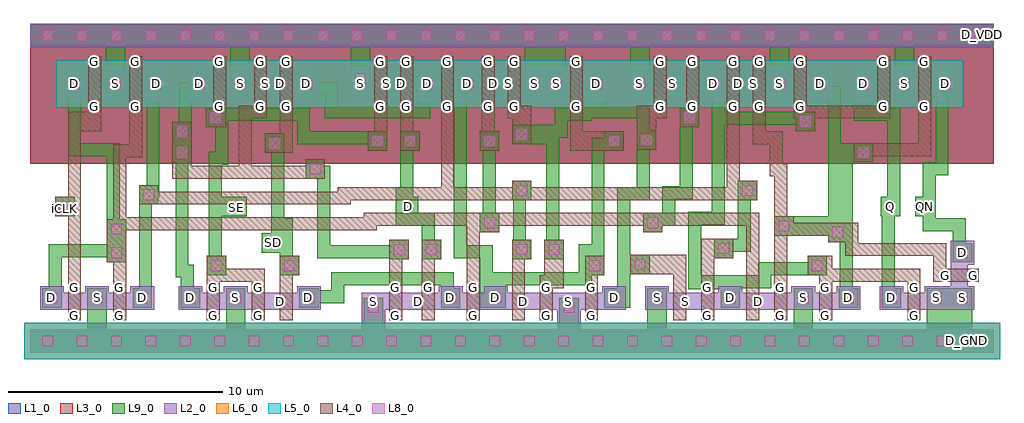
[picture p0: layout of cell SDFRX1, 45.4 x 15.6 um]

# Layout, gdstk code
import gdstk
lib = gdstk.Library(unit=1e-6, precision=1e-09)
def R(c, l, rs):  # rectangles x0, y0, x1, y1
    for r in rs: c.add(gdstk.rectangle(r[:2], r[2:], *l))
def A(c, l, x, y, w, h, nx, ny, dx, dy):  # array of equal rectangles
    R(c, l, [(x+i*dx, y+j*dy, x+i*dx+w, y+j*dy+h) for i in range(nx) for j in range(ny)])
def P(c, l, *ps):  # polygons
    for p in ps: c.add(gdstk.Polygon(p, *l))
L1_0 = (1, 0)
L2_0 = (2, 0)
L3_0 = (3, 0)
L4_0 = (4, 0)
L5_0 = (5, 0)
L6_0 = (6, 0)
L8_0 = (8, 0)
L9_0 = (9, 0)

sdfrx1 = lib.new_cell('SDFRX1')
A(sdfrx1, L1_0, 0, 8.8, 1.6, 6.5, 28, 1, 1.6, 0)
A(sdfrx1, L1_0, 14.5, 10.2, 6, 4.6, 3, 1, 1.9, 0)
R(sdfrx1, L1_0, [(0,10.2,6,14.8), (1.9,10.2,7.9,14.8), (5.8,10.2,11.8,14.8), (7.7,10.2,13.7,14.8), (8.9,10.2,14.9,14.8), (13.3,10.2,19.3,14.8), (19.5,10.2,25.5,14.8), (22.4,10.2,28.4,14.8), (26.3,10.2,32.3,14.8), (27.8,10.2,33.8,14.8), (29.7,10.2,35.7,14.8), (30.9,10.2,36.9,14.8), (32.8,10.2,38.8,14.8), (36.7,10.2,42.7,14.8), (38.6,10.2,44.6,14.8)])
A(sdfrx1, L2_0, 0, 0, 1.6, 1.1, 28, 2, 1.6, 14.2)
A(sdfrx1, L2_0, 18, 2, 1, 0.8, 3, 1, 2.1, 0)
A(sdfrx1, L2_0, 17.1, 11.7, 0.8, 1.6, 3, 1, 1.9, 0)
R(sdfrx1, L2_0, [(15.4,1.1,16.5,2.8), (24.5,1.1,25.6,2), (15.4,1.55,16.5,2.65), (24.5,1.55,25.6,2.65), (0.45,2,1.55,3.1), (1.55,2,2.55,2.8), (2.55,2,3.65,3.1), (2.55,2,3.65,3.1), (3.65,2,4.65,2.8), (4.65,2,5.75,3.1), (6.9,2,8,3.1), (8,2,9,2.8), (9,2,10.1,3.1), (9,2,10.1,3.1), (10.1,2,11.1,2.8), (10.3,2,11.4,2.8), (11.1,2,12.2,2.8), (11.4,2,12.4,2.8), (12.4,2,13.5,3.1), (15.4,2,16.5,2.8), (16.5,2,17.5,2.8), (16.9,2,18,2.8), (17.5,2,18.6,2.8), (19,2,20.1,3.1), (19,2,20.1,3.1), (21.1,2,22.2,3.1), (21.1,2,22.2,3.1), (22.4,2,23.5,2.8), (23.2,2,24.3,2.8), (23.5,2,24.5,2.8), (24.5,2,25.6,2.8), (24.5,2,25.6,2.8), (25.6,2,26.6,2.8), (26.6,2,27.7,3.1), (28.6,2,29.7,3.1), (29.7,2,30.7,2.8), (29.9,2,31,2.8), (30.7,2,31.8,2.8), (31,2,32,2.8), (32,2,33.1,3.1), (32,2,33.1,3.1), (33.1,2,34.1,2.8), (33.3,2,34.4,2.8), (34.1,2,35.2,2.8), (34.4,2,35.4,2.8), (35.4,2,36.5,3.1), (35.4,2,36.5,3.1), (36.5,2,37.5,2.8), (37.5,2,38.6,3.1), (39.5,2,40.6,3.1), (40.6,2,41.6,2.8), (41.6,2,42.7,3.1), (42.7,2,42.8,3.1), (42.8,2,43.9,3.1), (42.8,3.1,43.6,4.1), (42.8,4.1,43.9,5.2), (1.5,11.7,2.6,13.3), (2.6,11.7,3.4,13.3), (3.4,11.7,4.5,13.3), (3.4,11.7,4.5,13.3), (4.5,11.7,5.3,13.3), (5.3,11.7,6.4,13.3), (7.3,11.7,8.4,13.3), (8.4,11.7,9.2,13.3), (9.2,11.7,10.3,13.3), (9.2,11.7,10.3,13.3), (10.3,11.7,11.1,13.3), (10.4,11.7,11.5,13.3), (11.1,11.7,12.2,13.3), (11.5,11.7,12.3,13.3), (12.3,11.7,13.4,13.3), (14.8,11.7,15.9,13.3), (15.9,11.7,16.7,13.3), (16,11.7,17.1,13.3), (16.7,11.7,17.8,13.3), (17.9,11.7,19,13.3), (17.9,11.7,19,13.3), (19.8,11.7,20.9,13.3), (19.8,11.7,20.9,13.3), (21,11.7,22.1,13.3), (21.7,11.7,22.8,13.3), (22.1,11.7,22.9,13.3), (22.9,11.7,24,13.3), (23.9,11.7,25,13.3), (25,11.7,25.8,13.3), (25.8,11.7,26.9,13.3), (27.8,11.7,28.9,13.3), (28.9,11.7,29.7,13.3), (29.3,11.7,30.4,13.3), (29.7,11.7,30.8,13.3), (30.4,11.7,31.2,13.3), (31.2,11.7,32.3,13.3), (31.2,11.7,32.3,13.3), (32.3,11.7,33.1,13.3), (32.4,11.7,33.5,13.3), (33.1,11.7,34.2,13.3), (33.5,11.7,34.3,13.3), (34.3,11.7,35.4,13.3), (34.3,11.7,35.4,13.3), (35.4,11.7,36.2,13.3), (36.2,11.7,37.3,13.3), (38.2,11.7,39.3,13.3), (39.3,11.7,40.1,13.3), (40.1,11.7,41.2,13.3), (40.1,11.7,41.2,13.3), (41.2,11.7,42,13.3), (42,11.7,43.1,13.3), (27.8,12,28.9,13.1), (14.8,12.2,15.9,13.3)])
A(sdfrx1, L3_0, 0, 8.8, 1.6, 6.5, 28, 1, 1.6, 0)
A(sdfrx1, L3_0, 14.5, 10.2, 6, 4.6, 3, 1, 1.9, 0)
R(sdfrx1, L3_0, [(0,10.2,6,14.8), (1.9,10.2,7.9,14.8), (5.8,10.2,11.8,14.8), (7.7,10.2,13.7,14.8), (8.9,10.2,14.9,14.8), (13.3,10.2,19.3,14.8), (19.5,10.2,25.5,14.8), (22.4,10.2,28.4,14.8), (26.3,10.2,32.3,14.8), (27.8,10.2,33.8,14.8), (29.7,10.2,35.7,14.8), (30.9,10.2,36.9,14.8), (32.8,10.2,38.8,14.8), (36.7,10.2,42.7,14.8), (38.6,10.2,44.6,14.8)])
A(sdfrx1, L4_0, 18.2, 1.5, 0.6, 0.5, 3, 2, 2.1, 1.3)
A(sdfrx1, L4_0, 18.2, 1.5, 0.6, 1.8, 3, 1, 2.1, 0)
A(sdfrx1, L4_0, 17.2, 11.2, 0.6, 2.6, 3, 1, 1.9, 0)
A(sdfrx1, L4_0, 17.2, 11.2, 0.6, 0.5, 3, 2, 1.9, 2.1)
R(sdfrx1, L4_0, [(1.75,1.5,2.35,2), (1.75,1.5,2.35,3.3), (3.85,1.5,4.45,2), (3.85,1.5,4.45,3.3), (8.2,1.5,8.8,2), (8.2,1.5,8.8,3.3), (10.3,1.5,10.9,2), (10.3,1.5,10.9,3.3), (11.6,1.5,12.2,2), (11.6,1.5,12.2,3.3), (16.7,1.5,17.3,2), (16.7,1.5,17.3,3.3), (23.7,1.5,24.3,2), (23.7,1.5,24.3,3.3), (25.8,1.5,26.4,2), (25.8,1.5,26.4,3.3), (29.9,1.5,30.5,2), (29.9,1.5,30.5,3.3), (31.2,1.5,31.8,2), (31.2,1.5,31.8,3.3), (33.3,1.5,33.9,2), (33.3,1.5,33.9,3.3), (34.6,1.5,35.2,2), (34.6,1.5,35.2,3.3), (36.7,1.5,37.3,2), (36.7,1.5,37.3,3.3), (40.8,1.5,41.4,2), (40.8,1.5,41.4,3.3), (1.75,2.8,2.35,3.3), (3.85,2.8,4.45,3.3), (8.2,2.8,8.8,3.3), (10.3,2.8,10.9,3.3), (11.6,2.8,12.2,3.3), (16.7,2.8,17.3,3.3), (23.7,2.8,24.3,3.3), (25.8,2.8,26.4,3.3), (29.9,2.8,30.5,3.3), (31.2,2.8,31.8,3.3), (33.3,2.8,33.9,3.3), (34.6,2.8,35.2,3.3), (36.7,2.8,37.3,3.3), (40.8,2.8,41.4,3.3), (16.7,3.15,17.3,5.25), (3.85,3.3,4.45,4.2), (8.2,3.3,10.9,3.9), (11.6,3.3,12.2,3.6), (18.2,3.3,18.8,4.4), (22.4,3.3,23,4.4), (25.8,3.3,26.4,3.6), (33.3,3.3,33.9,5.9), (36.7,3.3,37.3,4.5), (37.3,3.3,41.4,3.9), (42,3.3,42.6,4.95), (42.3,3.3,44.1,3.9), (42.3,3.3,42.8,3.9), (43.6,3.3,44.1,3.9), (8.2,3.6,9.1,4.5), (11.6,3.6,12.5,4.5), (25.8,3.6,26.7,4.5), (36.15,3.6,37.05,4.5), (27.9,3.65,28.8,4.55), (3.55,4.2,4.45,5.1), (16.7,4.35,17.6,5.25), (18.2,4.35,19.1,5.25), (22.4,4.35,23.3,5.25), (23.9,4.35,24.8,5.25), (31.8,4.4,32.7,5.3), (38.25,4.5,42.6,5.1), (3.55,5.1,3.85,5.3), (37.1,5.15,38,6.05), (3.55,5.3,4.45,6.2), (34.6,5.45,35.5,6.35), (35.5,5.45,37.1,6.05), (20.9,5.6,21.8,6.5), (28.5,5.6,29.4,6.5), (21.8,5.9,30.1,6.5), (29.4,5.9,33.9,6.5), (1.15,6.35,2.05,7.25), (5.05,6.9,5.95,7.8), (5.25,6.9,12.5,7.5), (17.25,7.1,22.65,7.7), (22.4,7.1,23.3,8), (23.3,7.1,30.05,7.7), (30.05,7.1,32.9,7.7), (32.9,7.1,33.8,8), (19.1,7.7,19.7,11.2), (6.6,8.1,7.5,9.85), (6.8,8.1,12.55,8.7), (12.8,8.1,13.7,9), (6.6,8.85,7.5,9.75), (38.3,8.85,39.2,9.75), (10.9,9.3,11.8,10.2), (11.6,9.3,12.2,11.2), (15.7,9.4,16.6,10.3), (17.2,9.4,18.1,10.3), (20.9,9.4,21.8,10.3), (21,9.4,21.6,11.2), (26.7,9.4,27.6,10.3), (28.2,9.45,29.1,10.35), (22.4,9.7,23.3,10.6), (6.6,9.85,7.5,10.75), (16,10.3,16.6,11.2), (17.2,10.3,17.8,11.2), (35.6,10.3,36.5,11.2), (8.15,10.5,9.05,11.4), (9,10.5,9.1,11.2), (30.2,10.5,31.1,11.4), (22.4,10.6,23.3,11.5), (22.2,10.9,23.3,11.5), (35.5,10.9,36.5,11.5), (36.5,10.9,40,11.5), (2.7,11.2,3.3,13.8), (2.7,11.2,3.3,11.7), (4.6,11.2,5.2,13.8), (4.6,11.2,5.2,11.7), (8.5,11.2,9.1,13.8), (8.5,11.2,9.1,11.7), (10.4,11.2,11,13.8), (10.4,11.2,11,11.7), (11.6,11.2,12.2,13.8), (11.6,11.2,12.2,11.7), (16,11.2,16.6,13.8), (16,11.2,16.6,11.7), (22.2,11.2,22.8,13.8), (22.2,11.2,22.8,11.7), (25.1,11.2,25.7,13.8), (25.1,11.2,25.7,11.7), (29,11.2,29.6,13.8), (29,11.2,29.6,11.7), (30.5,11.2,31.1,13.8), (30.5,11.2,31.1,11.7), (32.4,11.2,33,13.8), (32.4,11.2,33,11.7), (33.6,11.2,34.2,13.8), (33.6,11.2,34.2,11.7), (35.5,11.2,36.1,13.8), (35.5,11.2,36.1,11.7), (39.4,11.2,40,13.8), (39.4,11.2,40,11.7), (41.3,11.2,41.9,13.8), (41.3,11.2,41.9,11.7), (2.7,13.3,3.3,13.8), (4.6,13.3,5.2,13.8), (8.5,13.3,9.1,13.8), (10.4,13.3,11,13.8), (11.6,13.3,12.2,13.8), (16,13.3,16.6,13.8), (22.2,13.3,22.8,13.8), (25.1,13.3,25.7,13.8), (29,13.3,29.6,13.8), (30.5,13.3,31.1,13.8), (32.4,13.3,33,13.8), (33.6,13.3,34.2,13.8), (35.5,13.3,36.1,13.8), (39.4,13.3,40,13.8), (41.3,13.3,41.9,13.8)])
P(sdfrx1, L4_0, [(32.4,7.15),(33.35,7.15),(33.35,7.75),(33,7.75),(33,11.2),(32.4,11.2)],
  [(37.9,4.5),(38.7,4.5),(38.7,5.1),(38.5,5.1),(38.5,6.05),(37.9,6.05)],
  [(28.8,3.65),(29.9,3.65),(29.9,3.3),(30.5,3.3),(30.5,4.55),(28.8,4.55)],
  [(25.1,9.4),(26.7,9.4),(26.7,10.3),(25.7,10.3),(25.7,11.2),(25.1,11.2)],
  [(23.7,3),(24.8,3),(24.8,4.35),(23.9,4.35),(23.9,3.6),(23.7,3.6)],
  [(39.2,9.15),(41.9,9.15),(41.9,11.2),(41.3,11.2),(41.3,9.75),(39.2,9.75)],
  [(3.85,5.1),(4.45,5.1),(4.45,9.1),(5.2,9.1),(5.2,11.2),(4.6,11.2),(4.6,9.7),(3.85,9.7)],
  [(28.2,10.35),(29.1,10.35),(29.1,10.9),(29.6,10.9),(29.6,11.5),(28.2,11.5)],
  [(31.2,3.25),(31.8,3.25),(31.8,4.4),(32.1,4.4),(32.1,5.3),(31.2,5.3)],
  [(33.6,9.7),(34.4,9.7),(34.4,8.2),(34.6,8.2),(34.6,3.3),(35.2,3.3),(35.2,8.8),(35,8.8),(35,10.3),(34.2,10.3),(34.2,11.2),(33.6,11.2)],
  [(9.7,8.65),(10.3,8.65),(10.3,10.9),(11,10.9),(11,11.5),(9.7,11.5)],
  [(4.45,5.7),(16.1,5.7),(16.1,5.9),(20.3,5.9),(20.3,3.3),(20.9,3.3),(20.9,6.5),(15.5,6.5),(15.5,6.3),(4.45,6.3)],
  [(1.75,3.3),(2.35,3.3),(2.35,10.3),(3.3,10.3),(3.3,11.2),(1.75,11.2)],
  [(12.55,8.1),(13.7,8.1),(13.7,9),(13.1,9),(13.1,8.7),(12.55,8.7)],
  [(12.5,6.9),(14.9,6.9),(14.9,7.1),(17.25,7.1),(17.25,7.7),(14.3,7.7),(14.3,7.5),(12.5,7.5)])
A(sdfrx1, L5_0, 1.6, -0.3, 1.6, 1.7, 26, 1, 1.6, 0)
A(sdfrx1, L5_0, 15.7, 11.4, 3.6, 2.2, 3, 1, 1.9, 0)
R(sdfrx1, L5_0, [(-0.3,-0.3,1.6,1.4), (43.2,-0.3,45.1,1.4), (1.2,11.4,4.8,13.6), (3.1,11.4,6.7,13.6), (6.7,11.4,7,13.6), (7,11.4,10.6,13.6), (8.9,11.4,12.5,13.6), (10.1,11.4,13.7,13.6), (13.7,11.4,14.5,13.6), (14.5,11.4,18.1,13.6), (20.7,11.4,24.3,13.6), (23.6,11.4,27.2,13.6), (27.2,11.4,27.5,13.6), (27.5,11.4,31.1,13.6), (29,11.4,32.6,13.6), (30.9,11.4,34.5,13.6), (32.1,11.4,35.7,13.6), (34,11.4,37.6,13.6), (37.6,11.4,37.9,13.6), (37.9,11.4,41.5,13.6), (39.8,11.4,43.4,13.6)])
A(sdfrx1, L6_0, 1.6, -0.3, 1.6, 1.7, 26, 1, 1.6, 0)
A(sdfrx1, L6_0, 15.7, 11.4, 3.6, 2.2, 3, 1, 1.9, 0)
R(sdfrx1, L6_0, [(-0.3,-0.3,1.6,1.4), (43.2,-0.3,45.1,1.4), (1.2,11.4,4.8,13.6), (3.1,11.4,6.7,13.6), (6.7,11.4,7,13.6), (7,11.4,10.6,13.6), (8.9,11.4,12.5,13.6), (10.1,11.4,13.7,13.6), (13.7,11.4,14.5,13.6), (14.5,11.4,18.1,13.6), (20.7,11.4,24.3,13.6), (23.6,11.4,27.2,13.6), (27.2,11.4,27.5,13.6), (27.5,11.4,31.1,13.6), (29,11.4,32.6,13.6), (30.9,11.4,34.5,13.6), (32.1,11.4,35.7,13.6), (34,11.4,37.6,13.6), (37.6,11.4,37.9,13.6), (37.9,11.4,41.5,13.6), (39.8,11.4,43.4,13.6)])
A(sdfrx1, L8_0, 0.55, 0.3, 0.5, 0.5, 28, 2, 1.6, 14.2)
R(sdfrx1, L8_0, [(15.7,1.85,16.2,2.35), (24.8,1.85,25.3,2.35), (0.75,2.3,1.25,2.8), (2.85,2.3,3.35,2.8), (2.85,2.3,3.35,2.8), (4.95,2.3,5.45,2.8), (7.2,2.3,7.7,2.8), (9.3,2.3,9.8,2.8), (9.3,2.3,9.8,2.8), (12.7,2.3,13.2,2.8), (19.3,2.3,19.8,2.8), (19.3,2.3,19.8,2.8), (21.4,2.3,21.9,2.8), (21.4,2.3,21.9,2.8), (26.9,2.3,27.4,2.8), (28.9,2.3,29.4,2.8), (32.3,2.3,32.8,2.8), (32.3,2.3,32.8,2.8), (35.7,2.3,36.2,2.8), (35.7,2.3,36.2,2.8), (37.8,2.3,38.3,2.8), (39.8,2.3,40.3,2.8), (41.9,2.3,42.4,2.8), (43.1,2.3,43.6,2.8), (8.4,3.8,8.9,4.3), (11.8,3.8,12.3,4.3), (26,3.8,26.5,4.3), (36.35,3.8,36.85,4.3), (28.1,3.85,28.6,4.35), (3.75,4.4,4.25,4.9), (43.1,4.4,43.6,4.9), (16.9,4.55,17.4,5.05), (18.4,4.55,18.9,5.05), (22.6,4.55,23.1,5.05), (24.1,4.55,24.6,5.05), (32,4.6,32.5,5.1), (37.3,5.35,37.8,5.85), (3.75,5.5,4.25,6), (34.8,5.65,35.3,6.15), (21.1,5.8,21.6,6.3), (28.7,5.8,29.2,6.3), (1.35,6.55,1.85,7.05), (5.25,7.1,5.75,7.6), (22.6,7.3,23.1,7.8), (33.1,7.3,33.6,7.8), (13,8.3,13.5,8.8), (6.8,9.05,7.3,9.55), (38.5,9.05,39,9.55), (11.1,9.5,11.6,10), (15.9,9.6,16.4,10.1), (17.4,9.6,17.9,10.1), (21.1,9.6,21.6,10.1), (26.9,9.6,27.4,10.1), (28.4,9.65,28.9,10.15), (22.6,9.9,23.1,10.4), (6.8,10.05,7.3,10.55), (35.8,10.5,36.3,11), (8.35,10.7,8.85,11.2), (30.4,10.7,30.9,11.2), (1.8,12.25,2.3,12.75), (3.7,12.25,4.2,12.75), (3.7,12.25,4.2,12.75), (5.6,12.25,6.1,12.75), (7.6,12.25,8.1,12.75), (9.5,12.25,10,12.75), (9.5,12.25,10,12.75), (12.6,12.25,13.1,12.75), (18.2,12.25,18.7,12.75), (18.2,12.25,18.7,12.75), (20.1,12.25,20.6,12.75), (20.1,12.25,20.6,12.75), (23.2,12.25,23.7,12.75), (24.2,12.25,24.7,12.75), (26.1,12.25,26.6,12.75), (31.5,12.25,32,12.75), (31.5,12.25,32,12.75), (34.6,12.25,35.1,12.75), (34.6,12.25,35.1,12.75), (36.5,12.25,37,12.75), (38.5,12.25,39,12.75), (40.4,12.25,40.9,12.75), (40.4,12.25,40.9,12.75), (42.3,12.25,42.8,12.75), (28.1,12.3,28.6,12.8), (15.1,12.5,15.6,13)])
A(sdfrx1, L9_0, 0, 0, 1.6, 1, 28, 2, 1.6, 14.3)
A(sdfrx1, L9_0, 1.15, 6.35, 0.9, 0.9, 3, 1, 8, 0)
R(sdfrx1, L9_0, [(0,0,44.8,1), (2.65,0.1,3.55,3), (9.1,0.1,10,2.5), (28.7,0.1,29.6,3), (35.5,0.1,36.4,3), (41.7,0.95,43.8,3), (15.5,1,16.4,1.7), (24.6,1,25.5,1.65), (15.5,1.65,16.4,2.55), (24.6,1.65,25.5,2.55), (0.55,2.1,1.45,3), (2.65,2.1,3.55,3), (2.65,2.1,3.55,3), (4.75,2.1,5.65,3), (7,2.1,7.9,3), (9.1,2.1,10,3), (9.1,2.1,10,3), (12.5,2.1,13.4,3), (19.1,2.1,20,3), (19.1,2.1,20,3), (21.2,2.1,22.1,3), (21.2,2.1,22.1,3), (26.7,2.1,27.6,3), (28.7,2.1,29.6,3), (32.1,2.1,33,3), (32.1,2.1,33,3), (35.5,2.1,36.4,3), (35.5,2.1,36.4,3), (37.6,2.1,38.5,3), (39.6,2.1,40.5,3), (41.7,2.1,42.6,3), (42.9,2.1,43.8,3), (5.05,2.4,5.65,7.5), (39.6,2.4,40.2,6.95), (21.5,3,22.1,3.15), (31.2,3.55,32.4,3.6), (8.2,3.6,9.1,4.5), (11.6,3.6,12.5,4.5), (25.8,3.6,26.7,4.5), (36.15,3.6,37.05,4.5), (27.9,3.65,28.8,4.55), (8.3,3.9,8.9,6.25), (3.55,4.2,4.45,5.1), (3.55,4.2,4.45,5.1), (42.9,4.2,43.8,5.1), (16.7,4.35,17.6,5.25), (18.2,4.35,19.1,5.25), (22.4,4.35,23.3,5.25), (23.9,4.35,24.8,5.25), (31.8,4.4,32.7,5.3), (1.9,4.45,4.45,5.05), (25.5,4.5,26.7,5.05), (10.75,4.65,11.65,5.55), (22.45,4.7,23.05,7.7), (3.55,5.1,4.45,5.3), (37.1,5.15,38,6.05), (3.55,5.3,4.45,6.2), (3.55,5.3,4.45,6.2), (34.6,5.45,35.5,6.35), (34.9,5.45,37.7,6.05), (11.2,5.55,11.6,5.65), (20.9,5.6,21.8,6.5), (28.5,5.6,29.4,6.5), (37.7,5.75,38.25,6.35), (21.05,5.9,21.65,10.3), (11.2,5.95,11.8,9.9), (35.5,6.05,37.1,6.35), (1.15,6.35,2.05,7.25), (8.9,6.35,9.15,7.25), (37.1,6.35,38.25,6.95), (39.55,6.35,40.45,7.25), (41.15,6.35,42.05,7.25), (5.05,6.9,5.95,7.8), (22.4,7.1,23.3,8), (32.9,7.1,33.8,8), (12.8,8.1,13.7,9), (6.6,8.85,7.5,9.75), (38.3,8.85,39.2,9.75), (10.9,9.3,11.8,10.2), (15.7,9.4,16.6,10.3), (17.2,9.4,18.1,10.3), (20.9,9.4,21.8,10.3), (26.7,9.4,27.6,10.3), (28.2,9.45,29.1,10.35), (22.4,9.7,23.3,10.6), (6.6,9.75,7.5,9.85), (6.6,9.85,7.5,10.75), (23.3,10.3,24,10.6), (35.6,10.3,36.5,11.2), (8.15,10.5,9.05,11.4), (30.2,10.5,31.1,11.4), (31.7,10.6,36.2,11.2), (38.9,11.35,39.2,12), (31.7,11.9,32.3,13), (1.6,12,2.5,13), (3.5,12,4.4,13), (3.5,12,4.4,13), (5.4,12,6.3,13), (7.4,12,8.3,13), (9.3,12,10.2,13), (9.3,12,10.2,13), (12.4,12,13.3,13), (18,12,18.9,13), (18,12,18.9,13), (19.9,12,20.8,13), (19.9,12,20.8,13), (23,12,23.9,13), (23.9,12,24,13), (24,12,24.9,13), (25.9,12,26.8,13), (31.3,12,32.2,13), (31.3,12,32.2,13), (34.4,12,35.3,13), (34.4,12,35.3,13), (36.3,12,37.2,13), (38.3,12,39.2,13), (40.2,12,41.1,13), (40.2,12,41.1,13), (42.1,12,43,13), (19.7,12.05,19.9,13), (3.5,12.1,4.4,15.2), (9.3,12.1,10.2,15.2), (27.9,12.1,28.8,13), (27.9,12.1,28.8,15.2), (40.2,12.1,41.1,15.2), (14.9,12.3,15.8,13.2), (14.9,12.3,15.8,15.2), (23,13,24.9,14.3), (0,14.3,44.8,15.3)])
P(sdfrx1, L9_0, [(34.1,14.3),(34.4,14.3),(34.4,12.1),(35.3,12.1),(35.3,15.2),(34.1,15.2)],
  [(13.1,8.1),(13.35,8.1),(13.35,4.4),(17.3,4.4),(17.3,5),(13.95,5),(13.95,8.7),(13.1,8.7)],
  [(0.85,2.4),(1.45,2.4),(1.45,4.45),(2.5,4.45),(2.5,5.05),(0.85,5.05)],
  [(17,5.9),(18.2,5.9),(18.2,4.7),(18.8,4.7),(18.8,6.5),(17,6.5)],
  [(28.8,5.9),(30,5.9),(30,7.15),(30.8,7.15),(30.8,11.1),(30.2,11.1),(30.2,7.75),(29.4,7.75),(29.4,6.5),(28.8,6.5)],
  [(6.9,10.15),(7.5,10.15),(7.5,12),(8,12),(8,12.6),(6.9,12.6)],
  [(26.1,5.05),(26.7,5.05),(26.7,9.4),(27.3,9.4),(27.3,10),(26.1,10)],
  [(32.4,4.7),(33.5,4.7),(33.5,7.7),(32.9,7.7),(32.9,5.3),(32.4,5.3)],
  [(22.7,9.7),(24,9.7),(24,4.65),(24.6,4.65),(24.6,10.3),(22.7,10.3)],
  [(12.7,12),(13.7,12),(13.7,10.9),(18.6,10.9),(18.6,12.6),(18,12.6),(18,11.5),(14.3,11.5),(14.3,12.6),(12.7,12.6)],
  [(36.5,5.75),(37.1,5.75),(37.1,5.45),(37.7,5.45),(37.7,6.35),(36.5,6.35)],
  [(37.1,5.75),(37.65,5.75),(37.65,3),(38.25,3),(38.25,6.35),(37.1,6.35)],
  [(23.7,10),(25,10),(25,10.8),(26.1,10.8),(26.1,13),(25.5,13),(25.5,11.4),(24.4,11.4),(24.4,10.6),(23.7,10.6)],
  [(21.5,3.15),(26.1,3.15),(26.1,4.5),(25.5,4.5),(25.5,3.75),(21.5,3.75)],
  [(8.3,5.95),(8.9,5.95),(8.9,8.75),(9.2,8.75),(9.2,11.1),(8.6,11.1),(8.6,9.35),(8.3,9.35)],
  [(36.5,5.75),(37.1,5.75),(37.1,5.45),(37.7,5.45),(37.7,6.35),(36.5,6.35)],
  [(26.1,10.9),(28.8,10.9),(28.8,11.5),(26.8,11.5),(26.8,12.15),(26.1,12.15)],
  [(37.7,6.4),(38.25,6.4),(38.25,8.85),(38.3,8.85),(38.3,9.75),(37.7,9.75)],
  [(32.4,2.4),(33,2.4),(33,3),(34.45,3),(34.45,3.6),(36.75,3.6),(36.75,4.2),(33.85,4.2),(33.85,3.6),(32.4,3.6)],
  [(30.6,2.95),(33,2.95),(33,3.55),(31.2,3.55),(31.2,5.95),(32.3,5.95),(32.3,11.9),(31.7,11.9),(31.7,6.55),(30.6,6.55)],
  [(17,5.9),(17.6,5.9),(17.6,7.1),(17.8,7.1),(17.8,9.95),(17.2,9.95),(17.2,7.7),(17,7.7)],
  [(11.2,5.65),(11.6,5.65),(11.6,3.8),(12.2,3.8),(12.2,6.25),(11.2,6.25)],
  [(41.5,5.65),(42.9,5.65),(42.9,4.5),(43.5,4.5),(43.5,6.25),(41.5,6.25)],
  [(36.6,11.8),(37.1,11.8),(37.1,6.95),(37.7,6.95),(37.7,12.4),(37.2,12.4),(37.2,12.6),(36.6,12.6)],
  [(12.8,2.3),(14.6,2.3),(14.6,3.15),(19.1,3.15),(19.1,2.4),(19.7,2.4),(19.7,3.75),(14,3.75),(14,2.9),(12.8,2.9)],
  [(27.3,2.1),(27.9,2.1),(27.9,7.1),(28.8,7.1),(28.8,11.5),(28.2,11.5),(28.2,7.7),(27.3,7.7)],
  [(19.7,4.4),(20.9,4.4),(20.9,2.1),(21.5,2.1),(21.5,5),(20.3,5),(20.3,12),(20.5,12),(20.5,12.6),(19.7,12.6)],
  [(1.75,9.15),(3.55,9.15),(3.55,5.6),(4.15,5.6),(4.15,9.75),(2.35,9.75),(2.35,12.6),(1.75,12.6)],
  [(41.5,5.95),(42.1,5.95),(42.1,8.25),(42.7,8.25),(42.7,12.6),(42.1,12.6),(42.1,8.85),(41.5,8.85)],
  [(8.9,10.8),(12.4,10.8),(12.4,9.7),(15.7,9.7),(15.7,10.3),(13,10.3),(13,11.4),(8.9,11.4)],
  [(6.75,3.5),(7,3.5),(7,2.3),(7.6,2.3),(7.6,4.1),(7.35,4.1),(7.35,9.45),(6.75,9.45)],
  [(5.35,7.2),(6,7.2),(6,12.6),(5.4,12.6),(5.4,7.8),(5.35,7.8)],
  [(38.3,10.8),(39.85,10.8),(39.85,6.65),(40.45,6.65),(40.45,11.4),(38.9,11.4),(38.9,12.6),(38.3,12.6)])
sdfrx1.add(gdstk.Label('G', (32.7,11.452), layer=4, texttype=0))
sdfrx1.add(gdstk.Label('G', (32.7,13.552), layer=4, texttype=0))
sdfrx1.add(gdstk.Label('S', (33.651,12.501), layer=2, texttype=0))
sdfrx1.add(gdstk.Label('D', (31.751,12.501), layer=9, texttype=0))
sdfrx1.add(gdstk.Label('G', (35.8,11.452), layer=4, texttype=0))
sdfrx1.add(gdstk.Label('G', (35.8,13.552), layer=4, texttype=0))
sdfrx1.add(gdstk.Label('S', (34.849,12.501), layer=9, texttype=0))
sdfrx1.add(gdstk.Label('D', (36.749,12.501), layer=9, texttype=0))
sdfrx1.add(gdstk.Label('D', (18.049,2.399), layer=2, texttype=0))
sdfrx1.add(gdstk.Label('G', (17,3.048), layer=4, texttype=0))
sdfrx1.add(gdstk.Label('G', (17,1.748), layer=4, texttype=0))
sdfrx1.add(gdstk.Label('S', (15.949,2.399), layer=2, texttype=0))
sdfrx1.add(gdstk.Label('G', (33.9,11.452), layer=4, texttype=0))
sdfrx1.add(gdstk.Label('G', (33.9,13.552), layer=4, texttype=0))
sdfrx1.add(gdstk.Label('S', (34.851,12.501), layer=9, texttype=0))
sdfrx1.add(gdstk.Label('D', (32.951,12.501), layer=2, texttype=0))
sdfrx1.add(gdstk.Label('D', (33.851,2.401), layer=2, texttype=0))
sdfrx1.add(gdstk.Label('G', (34.9,1.752), layer=4, texttype=0))
sdfrx1.add(gdstk.Label('G', (34.9,3.052), layer=4, texttype=0))
sdfrx1.add(gdstk.Label('S', (35.951,2.551), layer=9, texttype=0))
sdfrx1.add(gdstk.Label('G', (41.6,11.452), layer=4, texttype=0))
sdfrx1.add(gdstk.Label('G', (41.6,13.552), layer=4, texttype=0))
sdfrx1.add(gdstk.Label('S', (40.649,12.501), layer=9, texttype=0))
sdfrx1.add(gdstk.Label('D', (42.549,12.501), layer=9, texttype=0))
sdfrx1.add(gdstk.Label('G', (11.9,11.452), layer=4, texttype=0))
sdfrx1.add(gdstk.Label('G', (11.9,13.552), layer=4, texttype=0))
sdfrx1.add(gdstk.Label('S', (10.949,12.501), layer=2, texttype=0))
sdfrx1.add(gdstk.Label('D', (12.849,12.501), layer=9, texttype=0))
sdfrx1.add(gdstk.Label('G', (41.1,1.752), layer=4, texttype=0))
sdfrx1.add(gdstk.Label('G', (41.1,3.052), layer=4, texttype=0))
sdfrx1.add(gdstk.Label('S', (42.151,2.551), layer=9, texttype=0))
sdfrx1.add(gdstk.Label('D', (40.051,2.551), layer=9, texttype=0))
sdfrx1.add(gdstk.Label('G', (3,11.452), layer=4, texttype=0))
sdfrx1.add(gdstk.Label('G', (3,13.552), layer=4, texttype=0))
sdfrx1.add(gdstk.Label('S', (3.951,12.501), layer=9, texttype=0))
sdfrx1.add(gdstk.Label('D', (2.051,12.501), layer=9, texttype=0))
sdfrx1.add(gdstk.Label('G', (37,1.752), layer=4, texttype=0))
sdfrx1.add(gdstk.Label('G', (37,3.052), layer=4, texttype=0))
sdfrx1.add(gdstk.Label('S', (35.949,2.551), layer=9, texttype=0))
sdfrx1.add(gdstk.Label('D', (38.049,2.551), layer=9, texttype=0))
sdfrx1.add(gdstk.Label('G', (18.5,1.752), layer=4, texttype=0))
sdfrx1.add(gdstk.Label('G', (18.5,3.052), layer=4, texttype=0))
sdfrx1.add(gdstk.Label('S', (17.449,2.401), layer=2, texttype=0))
sdfrx1.add(gdstk.Label('D', (19.549,2.551), layer=9, texttype=0))
sdfrx1.add(gdstk.Label('D', (22.951,2.401), layer=2, texttype=0))
sdfrx1.add(gdstk.Label('G', (24,1.752), layer=4, texttype=0))
sdfrx1.add(gdstk.Label('G', (24,3.052), layer=4, texttype=0))
sdfrx1.add(gdstk.Label('S', (25.051,2.401), layer=2, texttype=0))
sdfrx1.add(gdstk.Label('G', (30.8,11.452), layer=4, texttype=0))
sdfrx1.add(gdstk.Label('G', (30.8,13.552), layer=4, texttype=0))
sdfrx1.add(gdstk.Label('S', (29.849,12.501), layer=2, texttype=0))
sdfrx1.add(gdstk.Label('D', (31.749,12.501), layer=9, texttype=0))
sdfrx1.add(gdstk.Label('G', (17.5,11.452), layer=4, texttype=0))
sdfrx1.add(gdstk.Label('G', (17.5,13.552), layer=4, texttype=0))
sdfrx1.add(gdstk.Label('S', (16.549,12.501), layer=2, texttype=0))
sdfrx1.add(gdstk.Label('D', (18.449,12.501), layer=9, texttype=0))
sdfrx1.add(gdstk.Label('G', (29.3,11.452), layer=4, texttype=0))
sdfrx1.add(gdstk.Label('G', (29.3,13.552), layer=4, texttype=0))
sdfrx1.add(gdstk.Label('S', (28.349,12.501), layer=2, texttype=0))
sdfrx1.add(gdstk.Label('D', (30.249,12.501), layer=2, texttype=0))
sdfrx1.add(gdstk.Label('G', (39.7,11.452), layer=4, texttype=0))
sdfrx1.add(gdstk.Label('G', (39.7,13.552), layer=4, texttype=0))
sdfrx1.add(gdstk.Label('S', (40.651,12.501), layer=9, texttype=0))
sdfrx1.add(gdstk.Label('D', (38.751,12.501), layer=9, texttype=0))
sdfrx1.add(gdstk.Label('G', (16.3,11.452), layer=4, texttype=0))
sdfrx1.add(gdstk.Label('G', (16.3,13.552), layer=4, texttype=0))
sdfrx1.add(gdstk.Label('S', (15.349,12.501), layer=2, texttype=0))
sdfrx1.add(gdstk.Label('D', (17.249,12.501), layer=2, texttype=0))
sdfrx1.add(gdstk.Label('G', (2.05,1.752), layer=4, texttype=0))
sdfrx1.add(gdstk.Label('G', (2.05,3.052), layer=4, texttype=0))
sdfrx1.add(gdstk.Label('S', (3.101,2.551), layer=9, texttype=0))
sdfrx1.add(gdstk.Label('D', (1.001,2.551), layer=9, texttype=0))
sdfrx1.add(gdstk.Label('G', (4.15,1.752), layer=4, texttype=0))
sdfrx1.add(gdstk.Label('G', (4.15,3.052), layer=4, texttype=0))
sdfrx1.add(gdstk.Label('S', (3.099,2.551), layer=9, texttype=0))
sdfrx1.add(gdstk.Label('D', (5.199,2.551), layer=9, texttype=0))
sdfrx1.add(gdstk.Label('G', (8.5,1.752), layer=4, texttype=0))
sdfrx1.add(gdstk.Label('G', (8.5,3.052), layer=4, texttype=0))
sdfrx1.add(gdstk.Label('S', (9.551,2.551), layer=9, texttype=0))
sdfrx1.add(gdstk.Label('D', (7.451,2.551), layer=9, texttype=0))
sdfrx1.add(gdstk.Label('G', (21.3,11.452), layer=4, texttype=0))
sdfrx1.add(gdstk.Label('G', (21.3,13.552), layer=4, texttype=0))
sdfrx1.add(gdstk.Label('S', (22.251,12.501), layer=2, texttype=0))
sdfrx1.add(gdstk.Label('D', (20.351,12.501), layer=9, texttype=0))
sdfrx1.add(gdstk.Label('D', (11.649,2.401), layer=2, texttype=0))
sdfrx1.add(gdstk.Label('G', (10.6,1.752), layer=4, texttype=0))
sdfrx1.add(gdstk.Label('G', (10.6,3.052), layer=4, texttype=0))
sdfrx1.add(gdstk.Label('S', (9.549,2.551), layer=9, texttype=0))
sdfrx1.add(gdstk.Label('G', (42.552,3.6), layer=4, texttype=0))
sdfrx1.add(gdstk.Label('G', (43.852,3.6), layer=4, texttype=0))
sdfrx1.add(gdstk.Label('S', (43.351,2.549), layer=9, texttype=0))
sdfrx1.add(gdstk.Label('D', (43.351,4.649), layer=9, texttype=0))
sdfrx1.add(gdstk.Label('G', (26.1,1.752), layer=4, texttype=0))
sdfrx1.add(gdstk.Label('G', (26.1,3.052), layer=4, texttype=0))
sdfrx1.add(gdstk.Label('S', (25.049,2.401), layer=2, texttype=0))
sdfrx1.add(gdstk.Label('D', (27.149,2.551), layer=9, texttype=0))
sdfrx1.add(gdstk.Label('G', (22.5,11.452), layer=4, texttype=0))
sdfrx1.add(gdstk.Label('G', (22.5,13.552), layer=4, texttype=0))
sdfrx1.add(gdstk.Label('S', (23.451,12.501), layer=9, texttype=0))
sdfrx1.add(gdstk.Label('D', (21.551,12.501), layer=2, texttype=0))
sdfrx1.add(gdstk.Label('G', (31.5,1.752), layer=4, texttype=0))
sdfrx1.add(gdstk.Label('G', (31.5,3.052), layer=4, texttype=0))
sdfrx1.add(gdstk.Label('S', (30.449,2.401), layer=2, texttype=0))
sdfrx1.add(gdstk.Label('D', (32.549,2.551), layer=9, texttype=0))
sdfrx1.add(gdstk.Label('G', (33.6,1.752), layer=4, texttype=0))
sdfrx1.add(gdstk.Label('G', (33.6,3.052), layer=4, texttype=0))
sdfrx1.add(gdstk.Label('S', (34.651,2.401), layer=2, texttype=0))
sdfrx1.add(gdstk.Label('D', (32.551,2.551), layer=9, texttype=0))
sdfrx1.add(gdstk.Label('G', (19.4,11.452), layer=4, texttype=0))
sdfrx1.add(gdstk.Label('G', (19.4,13.552), layer=4, texttype=0))
sdfrx1.add(gdstk.Label('S', (18.449,12.501), layer=9, texttype=0))
sdfrx1.add(gdstk.Label('D', (20.349,12.501), layer=9, texttype=0))
sdfrx1.add(gdstk.Label('G', (25.4,11.452), layer=4, texttype=0))
sdfrx1.add(gdstk.Label('G', (25.4,13.552), layer=4, texttype=0))
sdfrx1.add(gdstk.Label('S', (24.449,12.501), layer=9, texttype=0))
sdfrx1.add(gdstk.Label('D', (26.349,12.501), layer=9, texttype=0))
sdfrx1.add(gdstk.Label('G', (22.7,1.752), layer=4, texttype=0))
sdfrx1.add(gdstk.Label('G', (22.7,3.052), layer=4, texttype=0))
sdfrx1.add(gdstk.Label('S', (23.751,2.401), layer=2, texttype=0))
sdfrx1.add(gdstk.Label('D', (21.651,2.551), layer=9, texttype=0))
sdfrx1.add(gdstk.Label('G', (4.9,11.452), layer=4, texttype=0))
sdfrx1.add(gdstk.Label('G', (4.9,13.552), layer=4, texttype=0))
sdfrx1.add(gdstk.Label('S', (3.949,12.501), layer=9, texttype=0))
sdfrx1.add(gdstk.Label('D', (5.849,12.501), layer=9, texttype=0))
sdfrx1.add(gdstk.Label('G', (10.7,11.452), layer=4, texttype=0))
sdfrx1.add(gdstk.Label('G', (10.7,13.552), layer=4, texttype=0))
sdfrx1.add(gdstk.Label('S', (9.749,12.501), layer=9, texttype=0))
sdfrx1.add(gdstk.Label('D', (11.649,12.501), layer=2, texttype=0))
sdfrx1.add(gdstk.Label('G', (8.8,11.452), layer=4, texttype=0))
sdfrx1.add(gdstk.Label('G', (8.8,13.552), layer=4, texttype=0))
sdfrx1.add(gdstk.Label('S', (9.751,12.501), layer=9, texttype=0))
sdfrx1.add(gdstk.Label('D', (7.851,12.501), layer=9, texttype=0))
sdfrx1.add(gdstk.Label('G', (20.6,1.752), layer=4, texttype=0))
sdfrx1.add(gdstk.Label('G', (20.6,3.052), layer=4, texttype=0))
sdfrx1.add(gdstk.Label('S', (19.549,2.551), layer=9, texttype=0))
sdfrx1.add(gdstk.Label('D', (21.649,2.551), layer=9, texttype=0))
sdfrx1.add(gdstk.Label('D', (31.249,2.401), layer=2, texttype=0))
sdfrx1.add(gdstk.Label('G', (30.2,1.752), layer=4, texttype=0))
sdfrx1.add(gdstk.Label('G', (30.2,3.052), layer=4, texttype=0))
sdfrx1.add(gdstk.Label('S', (29.149,2.551), layer=9, texttype=0))
sdfrx1.add(gdstk.Label('G', (11.9,1.752), layer=4, texttype=0))
sdfrx1.add(gdstk.Label('G', (11.9,3.052), layer=4, texttype=0))
sdfrx1.add(gdstk.Label('S', (10.849,2.401), layer=2, texttype=0))
sdfrx1.add(gdstk.Label('D', (12.949,2.551), layer=9, texttype=0))
sdfrx1.add(gdstk.Label('SE', (9.6,6.75), layer=50, texttype=0))
sdfrx1.add(gdstk.Label('QN', (41.6,6.8), layer=50, texttype=0))
sdfrx1.add(gdstk.Label('SD', (11.3,5.15), layer=50, texttype=0))
sdfrx1.add(gdstk.Label('iCLK', (1.6,6.7), layer=50, texttype=0))
sdfrx1.add(gdstk.Label('D', (17.6,6.8), layer=50, texttype=0))
sdfrx1.add(gdstk.Label('D_GND', (43.55,0.55), layer=50, texttype=0))
sdfrx1.add(gdstk.Label('D_VDD', (44.3,14.8), layer=50, texttype=0))
sdfrx1.add(gdstk.Label('Q', (40,6.8), layer=50, texttype=0))

lib.write_gds('SDFRX1.gds')
